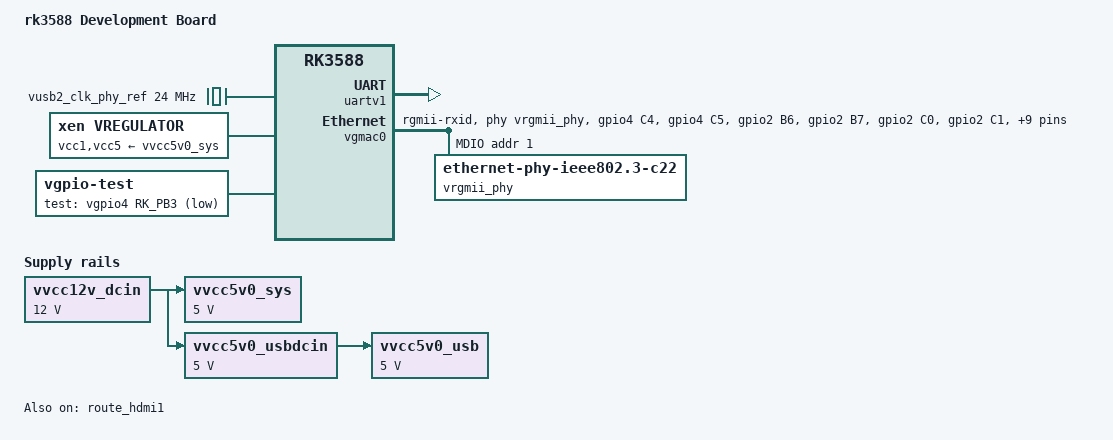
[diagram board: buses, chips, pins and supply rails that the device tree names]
// SPDX-License-Identifier: (GPL-2.0+ OR MIT)
/*
 * Copyright (c) 2021 Rockchip Electronics Co., Ltd.
 *
 */

/dts-v1/;

#include "rk3588-evb1-lp4.dtsi"
#include "rk3588-evb1-imx415.dtsi"
#include "rk3588-linux.dtsi"

/ {
		model = "rk3588 Development Board";
		compatible = "xen,xenvm";
		passthrough {
		compatible = "simple-bus";
		#address-cells = <2>;
		#size-cells = <2>;
		ranges;

	//firmware {
		vscmi: vscmi {
			compatible = "arm,vscmi";
			#address-cells = <1>;
			#size-cells = <0>;
			
			vscmi_clk: protocol@14 {
				reg = <0x14>;
				#clock-cells = <1>;
			};
		};
	//};
	
		vuart_clk: vuart1_clk {
			#clock-cells = <0>;
			clock-frequency = <24000000>;
			compatible = "fixed-clock";
		};

		vuart_pclk: vuart_pclk {
			#clock-cells = <0>;
			clock-frequency = <100000000>;
			compatible = "fixed-clock";
		};

		vusb2_clk_host: vusb2_clk_host {
			#clock-cells = <0>;
			clock-frequency = <150000000>;
			compatible = "fixed-clock";
		};

		vusb2_clk_host_arb: vusb2_clk_host_arb {
			#clock-cells = <0>;
			clock-frequency = <150000000>;
			compatible = "fixed-clock";
		};

		vusb2_clk_phy_ref: vusb2_clk_phy_ref {
			#clock-cells = <0>;
			clock-frequency = <24000000>;
			compatible = "fixed-clock";
		};

		vcru: vclock-controller {
			compatible = "xen,vcru";
			#clock-cells = <1>;
			#reset-cells = <1>;
			status = "okay";
		};
		/*for power domain*/
		vpmu: vpower-controller {
			compatible = "xen,vpower-controller";
			#power-domain-cells = <0x01>;
			#address-cells = <0x01>;
			#size-cells = <0x00>;
			status = "okay";
		};

		vvcc12v_dcin: vcc12v-dcin {
		compatible = "regulator-fixed";
		regulator-name = "vcc12v_dcin";
		regulator-always-on;
		regulator-boot-on;
		regulator-min-microvolt = <12000000>;
		regulator-max-microvolt = <12000000>;
		};
		vvcc5v0_sys: vcc5v0-sys {
		compatible = "regulator-fixed";
		regulator-name = "vcc5v0_sys";
		regulator-always-on;
		regulator-boot-on;
		regulator-min-microvolt = <5000000>;
		regulator-max-microvolt = <5000000>;
		vin-supply = <&vvcc12v_dcin>;

		vvcc5v0_usbdcin: vcc5v0-usbdcin {
		compatible = "regulator-fixed";
		regulator-name = "vcc5v0_usbdcin";
		regulator-always-on;
		regulator-boot-on;
		regulator-min-microvolt = <5000000>;
		regulator-max-microvolt = <5000000>;
		vin-supply = <&vvcc12v_dcin>;
	};

	vvcc5v0_usb: vcc5v0-usb {
		compatible = "regulator-fixed";
		regulator-name = "vcc5v0_usb";
		regulator-always-on;
		regulator-boot-on;
		regulator-min-microvolt = <5000000>;
		regulator-max-microvolt = <5000000>;
		vin-supply = <&vvcc5v0_usbdcin>;
	};
	};
	vregulator {
			compatible = "xen,vregulator";
			#address-cells = <0x01>;
			#size-cells = <0x00>;
			status = "okay";
			vcc1-supply = <&vvcc5v0_sys>;
			vcc5-supply = <&vvcc5v0_sys>;
			v_vdd_gpu_s0: DCDC_REG1 {
				regulator-boot-on;
				regulator-min-microvolt = <550000>;
				regulator-max-microvolt = <950000>;
				regulator-ramp-delay = <12500>;
				regulator-name = "vdd_gpu_s0";
				regulator-enable-ramp-delay = <400>;
				regulator-state-mem {
					regulator-off-in-suspend;
				};
			};
			v_vdd_gpu_mem_s0: DCDC_REG5 {
				regulator-boot-on;
				regulator-min-microvolt = <675000>;
				regulator-max-microvolt = <950000>;
				regulator-ramp-delay = <12500>;
				regulator-enable-ramp-delay = <400>;
				regulator-name = "vdd_gpu_mem_s0";
				regulator-state-mem {
					regulator-off-in-suspend;
				};
			};
		};
	vsys_grf: syscon@06060000 {
		compatible = "rockchip,rk3588-sys-grf", "syscon", "simple-mfd";
		reg = <0x0 0x06060000 0x0 0x1000>;
	};
	vphp_grf: syscon@06070000 {
		compatible = "rockchip,rk3588-php-grf", "syscon";
		reg = <0x0 0x06070000 0x0 0x1000>;
	};

	vioc: syscon@06050000 {
		compatible = "rockchip,rk3588-ioc", "syscon";
		reg = <0x0 0x06050000 0x0 0x10000>;
	};
	vpinctrl: vpinctrl {
		compatible ="xen,vpinctrl";
		rockchip,grf = <&vioc>;
		#address-cells = <2>;
		#size-cells = <2>;
		ranges;

		vgpio0: vgpio0@06000000 {
			compatible = "xen,vgpio-bank";
			reg = <0x0 0x06000000 0x0 0x10000>;
			// interrupts = <GIC_SPI 277 IRQ_TYPE_LEVEL_HIGH>;
			// clocks = <&cru PCLK_GPIO0>, <&cru DBCLK_GPIO0>;

			gpio-controller;
			#gpio-cells = <2>;
			gpio-ranges = <&vpinctrl 0 0 32>;
			// interrupt-controller;
			// #interrupt-cells = <2>;
		};

		vgpio1: vgpio1@06010000 {
			compatible = "xen,vgpio-bank";
			reg = <0x0 0x06010000 0x0 0x100>;
			// interrupts = <GIC_SPI 278 IRQ_TYPE_LEVEL_HIGH>;
			// clocks = <&cru PCLK_GPIO1>, <&cru DBCLK_GPIO1>;

			gpio-controller;
			#gpio-cells = <2>;
			gpio-ranges = <&vpinctrl 0 32 32>;
			// interrupt-controller;
			// #interrupt-cells = <2>;
		};

		vgpio2: vgpio2@06020000  {
			compatible = "xen,vgpio-bank";
			reg = <0x0 0x06020000 0x0 0x100>;
			// interrupts = <GIC_SPI 279 IRQ_TYPE_LEVEL_HIGH>;
			// clocks = <&cru PCLK_GPIO2>, <&cru DBCLK_GPIO2>;

			gpio-controller;
			#gpio-cells = <2>;
			gpio-ranges = <&vpinctrl 0 64 32>;
			// interrupt-controller;
			// #interrupt-cells = <2>;
		};

		vgpio3: vgpio3@06030000{
			compatible = "xen,vgpio-bank";
			reg = <0x0 0x06030000 0x0 0x100>;
			// interrupts = <GIC_SPI 280 IRQ_TYPE_LEVEL_HIGH>;
			// clocks = <&cru PCLK_GPIO3>, <&cru DBCLK_GPIO3>;

			gpio-controller;
			#gpio-cells = <2>;
			gpio-ranges = <&vpinctrl 0 96 32>;
			// interrupt-controller;
			// #interrupt-cells = <2>;
		};

		vgpio4: vgpio4@06040000 {
			compatible = "xen,vgpio-bank";
			reg = <0x0 0x06040000 0x0 0x100>;
			// interrupts = <GIC_SPI 281 IRQ_TYPE_LEVEL_HIGH>;
			// clocks = <&cru PCLK_GPIO4>, <&cru DBCLK_GPIO4>;

			gpio-controller;
			#gpio-cells = <2>;
			gpio-ranges = <&vpinctrl 0 128 32>;
			// interrupt-controller;
			// #interrupt-cells = <2>;
		};
	};
		uartv1: serial@feb40000 {
			compatible ="snps,dw-apb-uart";
			reg = <0x0 0xfeb40000 0x0 0x100>;
			interrupts = <GIC_SPI 332 IRQ_TYPE_LEVEL_HIGH>;
			//clock-frequency = <24000000>;
			//clocks = <&vuart_clk>, <&vuart_pclk>;
			clocks = <&vcru SCLK_UART1>, <&vcru PCLK_UART1>;
			clock-names = "baudclk", "apb_pclk";
			reg-shift = <2>;
			reg-io-width = <4>;
			//dmas = <&dmac0 8>, <&dmac0 9>;
			//pinctrl-names = "default";
			//pinctrl-0 = <&uart1m1_xfer>;
			status = "okay";
		};

		vusb2phy2_grf: syscon@fd5d8000 {
		compatible = "rockchip,rk3588-usb2phy-grf", "syscon",
			     "simple-mfd";
		reg = <0x0 0xfd5d8000 0x0 0x4000>;
		#address-cells = <1>;
		#size-cells = <1>;
		vu2phy2: usb2-phy@8000 {
			compatible = "rockchip,rk3588-usb2phy";
			reg = <0x8000 0x10>;
			interrupts = <GIC_SPI 391 IRQ_TYPE_LEVEL_HIGH>;
			resets = <&vcru SRST_OTGPHY_U2_0>, <&vcru SRST_P_USB2PHY_U2_0_GRF0>;
			reset-names = "phy", "apb";
			//clocks = <&vcru CLK_USB2PHY_HDPTXRXPHY_REF>;
			clocks = <&vusb2_clk_phy_ref>;
			clock-names = "phyclk";
			clock-output-names = "usb480m_phy2";
			#clock-cells = <0>;
			status = "disable";

			vu2phy2_host: host-port {
				#phy-cells = <0>;
				status = "disable";
			};
		};
	};
		vusb_host0_ehci: usb@fc800000 {
		compatible = "generic-ehci";
		reg = <0x0 0xfc800000 0x0 0x40000>;
		interrupts = <GIC_SPI 215 IRQ_TYPE_LEVEL_HIGH>;
		//clocks = <&vcru HCLK_HOST0>, <&vcru HCLK_HOST_ARB0>, <&vu2phy2>;
		//clock-names = "usbhost", "arbiter", "utmi";
		clocks = <&vusb2_clk_host>,<&vusb2_clk_host_arb>;
		clock-names = "usbhost", "arbiter";
		phys = <&vu2phy2_host>;
		phy-names = "usb2-phy";
		//power-domains = <&vpmu RK3588_PD_USB>;
		status = "disable";
	};
	vgmac0: ethernet@fe1b0000 {
		compatible = "rockchip,rk3588-gmac", "snps,dwmac-4.20a";
		reg = <0x0 0xfe1b0000 0x0 0x10000>;
		interrupts = <GIC_SPI 227 IRQ_TYPE_LEVEL_HIGH>,
			     <GIC_SPI 226 IRQ_TYPE_LEVEL_HIGH>;
		interrupt-names = "macirq", "eth_wake_irq";
		rockchip,grf = <&vsys_grf>;
		rockchip,php_grf = <&vphp_grf>;
		clocks = <&vcru CLK_GMAC_125M>, <&vcru CLK_GMAC_50M>,
			 <&vcru PCLK_GMAC0>, <&vcru ACLK_GMAC0>,
			 <&vcru CLK_GMAC0_PTP_REF>;
		clock-names = "stmmaceth", "clk_mac_ref",
			      "pclk_mac", "aclk_mac",
			      "ptp_ref";
		resets = <&vcru SRST_A_GMAC0>;
		reset-names = "stmmaceth";
		power-domains = <&vpmu RK3588_PD_GMAC>;
		//xen,smmuv3;
		//iommus =<&mmu600_php 0x100>;
		snps,mixed-burst;
		snps,tso;
		snps,axi-config = <&vgmac0_stmmac_axi_setup>;
		snps,mtl-rx-config = <&vgmac0_mtl_rx_setup>;
		snps,mtl-tx-config = <&vgmac0_mtl_tx_setup>;
		status = "disabled";
		//xen,passthrough;
		vmdio0: mdio {
			compatible = "snps,dwmac-mdio";
			#address-cells = <0x1>;
			#size-cells = <0x0>;
		};

		vgmac0_stmmac_axi_setup: stmmac-axi-config {
			snps,wr_osr_lmt = <4>;
			snps,rd_osr_lmt = <8>;
			snps,blen = <0 0 0 0 16 8 4>;
		};

		vgmac0_mtl_rx_setup: rx-queues-config {
			snps,rx-queues-to-use = <2>;
			queue0 {};
			queue1 {};
		};

		vgmac0_mtl_tx_setup: tx-queues-config {
			snps,tx-queues-to-use = <2>;
			queue0 {};
			queue1 {};
		};
	};
		/*vusb_host0_ohci: usb@fc840000 {
		compatible = "generic-ohci";
		reg = <0x0 0xfc840000 0x0 0x40000>;
		interrupts = <GIC_SPI 216 IRQ_TYPE_LEVEL_HIGH>;
		clocks = <&vcru HCLK_HOST0>, <&vcru HCLK_HOST_ARB0>, <&vu2phy2>;
		clock-names = "usbhost", "arbiter", "utmi";
		phys = <&vu2phy2_host>;
		phy-names = "usb2-phy";
		power-domains = <&vpmu RK3588_PD_USB>;
		status = "okay";
	};
		/*vclk-test {
		compatible = "vclk-test";
		clocks = <&vscmi_clk 1>;
		clock-names = "testclk";
		};

		vpmu-test {
		compatible = "vpmu-test";
		power-domains = <&vpmu 12>;
		status = "okay";
		};

		vrgu-test {
		compatible = "vrgu-test";
		d0-supply = <&v_vdd_gpu_s0>;
		status = "okay";
		};
		vreset-test {
		compatible = "vreset-test";
		resets = <&vcru SRST_OTGPHY_U2_0>, <&vcru SRST_P_USB2PHY_U2_0_GRF0>;
		reset-names = "phy", "apb";
		status = "okay";
		};*/
		vgpio-test {
		compatible = "vgpio-test";
		test-gpio = <&vgpio4 RK_PB3 GPIO_ACTIVE_LOW>;
		test-active-low;
		//pinctrl-names = "default";
		//pinctrl-0 = <&vuart1m1_xfer>;
		status = "okay";
		};
	       };

		aliases {
			serial1 = &uartv1;
	
		};

};

&vpinctrl {
	status = "okay";
	vpcfg_pull_up: pcfg-pull-up {
		bias-pull-up;
	};

	/omit-if-no-ref/
	vpcfg_pull_down: pcfg-pull-down {
		bias-pull-down;
	};

	/omit-if-no-ref/
	vpcfg_pull_none: pcfg-pull-none {
		bias-disable;
	};
	vpcfg_pull_none_drv_level_2: pcfg-pull-none-drv-level-2 {
		bias-disable;
		drive-strength = <2>;
	};
	vpcfg_pull_up_drv_level_1: pcfg-pull-up-drv-level-1 {
		bias-pull-up;
		drive-strength = <1>;
	};
	vpcfg_pull_up_drv_level_2: pcfg-pull-up-drv-level-2 {
		bias-pull-up;
		drive-strength = <2>;
	};
	vpcfg_pull_none_smt: pcfg-pull-none-smt {
		bias-disable;
		input-schmitt-enable;
	};
	vuart1 {
		vuart1m1_xfer: uart1m1-xfer {
			rockchip,pins =
				/* uart1_rx_m1 */
				<1 RK_PB7 10 &vpcfg_pull_up>,
				/* uart1_tx_m1 */
				<1 RK_PB6 10 &vpcfg_pull_up>;
		};
	};
	vgmac0 {
		/omit-if-no-ref/
		vgmac0_miim: gmac0-miim {
			rockchip,pins =
				/* gmac0_mdc */
				<4 RK_PC4 1 &vpcfg_pull_none>,
				/* gmac0_mdio */
				<4 RK_PC5 1 &vpcfg_pull_none>;
		};

		/omit-if-no-ref/
		vgmac0_clkinout: gmac0-clkinout {
			rockchip,pins =
				/* gmac0_mclkinout */
				<4 RK_PC3 1 &vpcfg_pull_none>;
		};

		/omit-if-no-ref/
		vgmac0_rx_bus2: gmac0-rx-bus2 {
			rockchip,pins =
				/* gmac0_rxd0 */
				<2 RK_PC1 1 &vpcfg_pull_none>,
				/* gmac0_rxd1 */
				<2 RK_PC2 1 &vpcfg_pull_none>,
				/* gmac0_rxdv_crs */
				<4 RK_PC2 1 &vpcfg_pull_none>;
		};

		/omit-if-no-ref/
		vgmac0_tx_bus2: gmac0-tx-bus2 {
			rockchip,pins =
				/* gmac0_txd0 */
				<2 RK_PB6 1 &vpcfg_pull_none>,
				/* gmac0_txd1 */
				<2 RK_PB7 1 &vpcfg_pull_none>,
				/* gmac0_txen */
				<2 RK_PC0 1 &vpcfg_pull_none>;
		};

		/omit-if-no-ref/
		vgmac0_rgmii_clk: gmac0-rgmii-clk {
			rockchip,pins =
				/* gmac0_rxclk */
				<2 RK_PB0 1 &vpcfg_pull_none>,
				/* gmac0_txclk */
				<2 RK_PB3 1 &vpcfg_pull_none>;
		};

		/omit-if-no-ref/
		vgmac0_rgmii_bus: gmac0-rgmii-bus {
			rockchip,pins =
				/* gmac0_rxd2 */
				<2 RK_PA6 1 &vpcfg_pull_none>,
				/* gmac0_rxd3 */
				<2 RK_PA7 1 &vpcfg_pull_none>,
				/* gmac0_txd2 */
				<2 RK_PB1 1 &vpcfg_pull_none>,
				/* gmac0_txd3 */
				<2 RK_PB2 1 &vpcfg_pull_none>;
		};

		/omit-if-no-ref/
		vgmac0_ppsclk: gmac0-ppsclk {
			rockchip,pins =
				/* gmac0_ppsclk */
				<2 RK_PC4 1 &vpcfg_pull_none>;
		};

		/omit-if-no-ref/
		vgmac0_ppstring: gmac0-ppstring {
			rockchip,pins =
				/* gmac0_ppstring */
				<2 RK_PB5 1 &vpcfg_pull_none>;
		};

		/omit-if-no-ref/
		vgmac0_ptp_refclk: gmac0-ptp-refclk {
			rockchip,pins =
				/* gmac0_ptp_refclk */
				<2 RK_PB4 1 &vpcfg_pull_none>;
		};

		/omit-if-no-ref/
		vgmac0_txer: gmac0-txer {
			rockchip,pins =
				/* gmac0_txer */
				<4 RK_PC6 1 &vpcfg_pull_none>;
		};

	};
};

&vgmac0 {
	/* Use rgmii-rxid mode to disable rx delay inside Soc */
	phy-mode = "rgmii-rxid";
	clock_in_out = "output";

	snps,reset-gpio = <&vgpio4 RK_PB3 GPIO_ACTIVE_LOW>;
	snps,reset-active-low;
	/* Reset time is 20ms, 100ms for rtl8211f */
	snps,reset-delays-us = <0 20000 100000>;

	pinctrl-names = "default";
	pinctrl-0 = <&vgmac0_miim
		     &vgmac0_tx_bus2
		     &vgmac0_rx_bus2
		     &vgmac0_rgmii_clk
		     &vgmac0_rgmii_bus>;

	tx_delay = <0x43>;
	/* rx_delay = <0x3f>; */

	phy-handle = <&vrgmii_phy>;
	status = "okay";
};
&vmdio0 {
	vrgmii_phy: phy@1 {
		compatible = "ethernet-phy-ieee802.3-c22";
		reg = <0x1>;
	};
};

&route_hdmi1 {
	status = "okay";
	connect = <&vp1_out_hdmi1>;
	/delete-property/ force-output;
	/delete-node/ force_timing;
};

&vcc_1v8_s0 {
	/delete-property/ regulator-state-mem;
	regulator-state-mem {
		regulator-on-in-suspend;
		regulator-suspend-microvolt = <1800000>;
	};
};

&vcc_3v3_s0 {
	/delete-property/ regulator-state-mem;
	regulator-state-mem {
		regulator-on-in-suspend;
		regulator-suspend-microvolt = <3300000>;
	};
};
